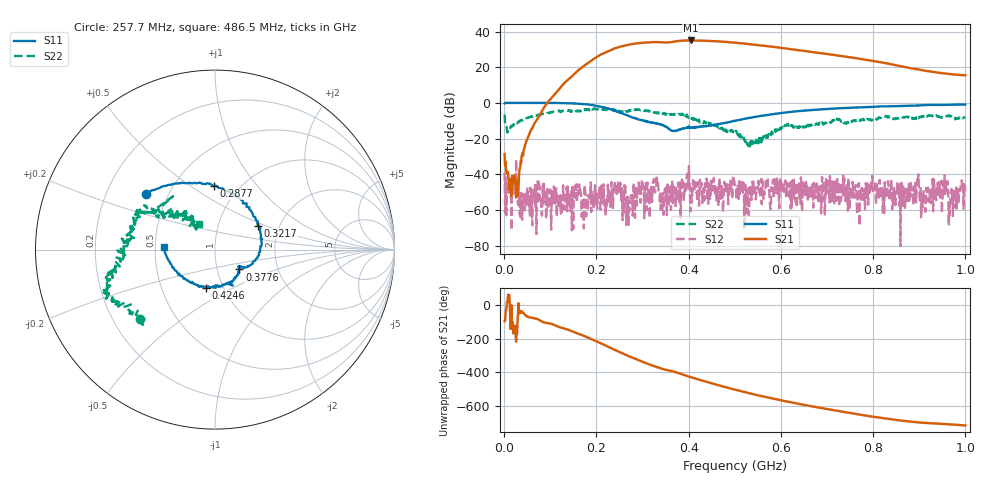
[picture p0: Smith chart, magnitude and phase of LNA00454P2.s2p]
! Created with skrf 1.9.0 (http://scikit-rf.org).
# Hz S RI R 50.0
!freq ReS11 ImS11 ReS21 ImS21 ReS12 ImS12 ReS22 ImS22
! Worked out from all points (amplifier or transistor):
!   1001 points, 1 MHz to 1 GHz, reference 50 ohm
!   highest |S21| = 35.0 dB at 404.6 MHz (marker M1)
!   |S21| within 3 dB of that: 259.5 MHz to 565.6 MHz (306.1 MHz wide, 74.2 % of centre)
!   unconditionally stable (mu >= 1): 246.9 MHz to 291.6 MHz; 331.2 MHz to 385.6 MHz; 401.1 MHz to end of sweep (the widest 3 of 45)
!   at 166.8 MHz: K = 0.87, MSG = 35.0 dB, |S12| = -50.5 dB
!   at 500.5 MHz: K = 1.92, MAG = 34.5 dB, |S12| = -46.3 dB
!   at 1 GHz: K = 4.17, MAG = 23.7 dB, |S12| = -50.2 dB
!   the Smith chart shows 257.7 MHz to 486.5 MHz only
!   S11 on the Smith chart (normalised r, x): 257.7 MHz: 0.38, +0.30; 287.7 MHz: 0.77, +0.62; 321.7 MHz: 1.55, +0.45; 377.6 MHz: 1.28, -0.29; 424.6 MHz: 0.83, -0.37; 486.5 MHz: 0.55, +0.02
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1000000  0.9644 0.0022  -0.00329 -0.0366  -0.0111 -0.00138  0.3612 0.3058
1.08892e8  0.5268 -0.8456  -0.7995 -1.5  -0.00244 -0.00153  0.4243 -0.3762
1.67833e8  -0.2272 -0.9055  -9.743 -0.5382  -0.000227 0.000598  0.0309 -0.6374
2.14786e8  -0.6902 -0.3018  -14.6 19.4  0.0027 -0.00198  -0.219 -0.6036
2.34766e8  -0.6397 0.0339  -6.18 31.22  -0.0037 -0.00066  -0.3144 -0.5666
2.57743e8  -0.3859 0.3072  11.92 37.62  0.000828 -0.00277  -0.4159 -0.3885
2.87713e8  -0.00722 0.3532  37 28.23  -0.000194 -0.00134  -0.5875 -0.2283
3.21679e8  0.2388 0.1335  50.46 0.8819  0.00215 0.00224  -0.5299 -0.0934
3.34666e8  0.2576 0.0196  49.45 -9.773  0.000955 0.00351  -0.5001 -0.0306
3.77623e8  0.1364 -0.1108  39.74 -36.94  -0.00208 0.00548  -0.4461 0.1959
4.04596e8  0.0555 -0.1946  21.48 -51.94  0.00186 0.00338  -0.3229 0.1856
4.24576e8  -0.0525 -0.2125  5.602 -55.09  0.0023 0.00666  -0.214 0.1841
4.53547e8  -0.1956 -0.1433  -15.87 -51.37  0.00135 0.00561  -0.1798 0.1626
4.86514e8  -0.2863 0.0141  -33.49 -37.68  0.00398 0.000967  -0.087 0.1426
5.005e8  -0.3044 0.0952  -38.61 -30.22  0.00164 0.00455  -0.0946 0.117
5.39461e8  -0.2448 0.3114  -42.49 -8.775  0.00239 -0.00155  -0.0716 -0.00554
5.85415e8  -0.0622 0.4851  -35.53 10.7  0.00269 -0.00354  -0.1538 -0.0589
6.25375e8  0.1302 0.5517  -24.36 19.87  -0.000181 -0.00369  -0.1925 -0.0965
6.67333e8  0.3333 0.536  -12.8 23.28  0.00213 -0.00216  -0.2353 -0.0537
7.53247e8  0.6345 0.3642  3.888 18.22  -0.00155 -0.00412  -0.2917 0.0253
8.34166e8  0.7903 0.1341  8.948 8.656  -0.00274 -0.00242  -0.4108 0.081
1e9  0.8052 -0.4062  5.932 0.5652  -0.0027 0.00154  -0.1552 0.3553
